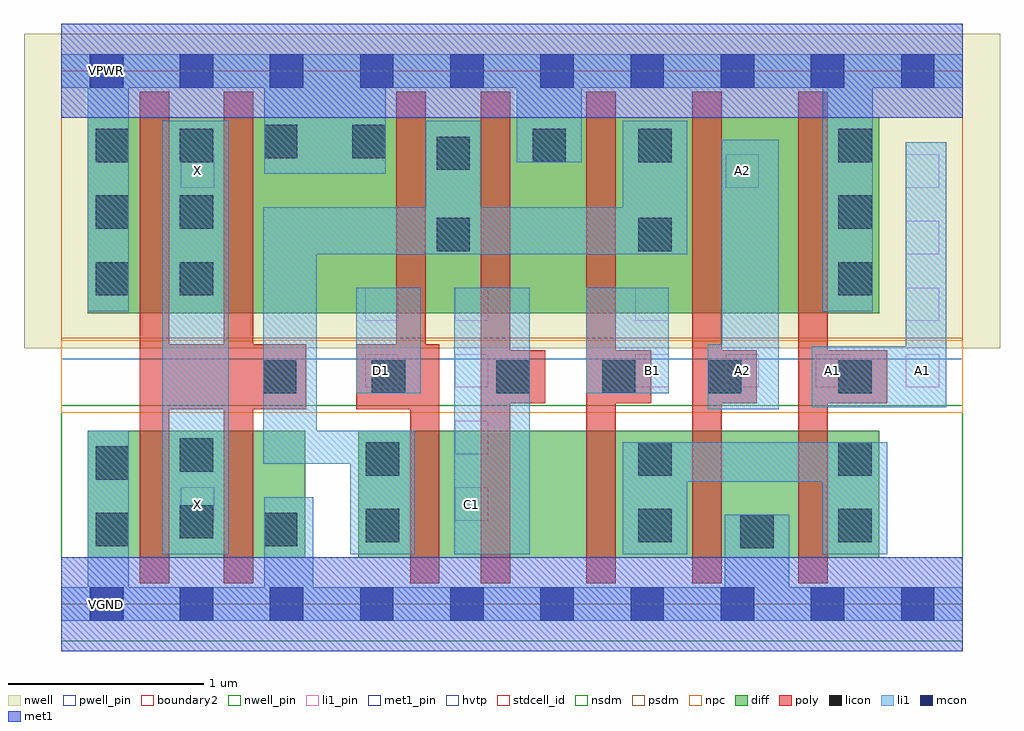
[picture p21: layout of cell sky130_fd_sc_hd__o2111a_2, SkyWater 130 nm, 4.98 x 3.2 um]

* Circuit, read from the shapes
.subckt sky130_fd_sc_hd__o2111a_2 A1 A2 B1 C1 D1 VGND VNB VPB VPWR X
XM1 X n1 VGND VNB sky130_fd_pr__nfet_01v8 w=0.65 l=0.15 m=2
XM2 n2 D1 n1 VNB sky130_fd_pr__nfet_01v8 w=0.65 l=0.15
XM3 n3 C1 n2 VNB sky130_fd_pr__nfet_01v8 w=0.65 l=0.15
XM4 n4 B1 n3 VNB sky130_fd_pr__nfet_01v8 w=0.65 l=0.15
XM5 VGND A2 n4 VNB sky130_fd_pr__nfet_01v8 w=0.65 l=0.15
XM6 n4 A1 VGND VNB sky130_fd_pr__nfet_01v8 w=0.65 l=0.15
XM7 X n1 VPWR VPB sky130_fd_pr__pfet_01v8_hvt w=1 l=0.15 m=2
XM8 n1 D1 VPWR VPB sky130_fd_pr__pfet_01v8_hvt w=1 l=0.15
XM9 VPWR C1 n1 VPB sky130_fd_pr__pfet_01v8_hvt w=1 l=0.15
XM10 n1 B1 VPWR VPB sky130_fd_pr__pfet_01v8_hvt w=1 l=0.15
XM11 n5 A2 n1 VPB sky130_fd_pr__pfet_01v8_hvt w=1 l=0.15
XM12 VPWR A1 n5 VPB sky130_fd_pr__pfet_01v8_hvt w=1 l=0.15
.ends

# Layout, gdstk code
import gdstk
lib = gdstk.Library(unit=1e-6, precision=1e-09)
def R(c, l, rs):  # rectangles x0, y0, x1, y1
    for r in rs: c.add(gdstk.rectangle(r[:2], r[2:], *l))
def A(c, l, x, y, w, h, nx, ny, dx, dy):  # array of equal rectangles
    R(c, l, [(x+i*dx, y+j*dy, x+i*dx+w, y+j*dy+h) for i in range(nx) for j in range(ny)])
def P(c, l, *ps):  # polygons
    for p in ps: c.add(gdstk.Polygon(p, *l))
nwell_pin = (64, 16)
nwell = (64, 20)
diff = (65, 20)
poly = (66, 20)
licon = (66, 44)
li1_pin = (67, 16)
li1 = (67, 20)
mcon = (67, 44)
met1_pin = (68, 16)
met1 = (68, 20)
hvtp = (78, 44)
stdcell_id = (81, 4)
nsdm = (93, 44)
psdm = (94, 20)
npc = (95, 20)
pwell_pin = (122, 16)
boundary2 = (236, 0)

sky130_fd_sc_hd__o2111a_ = lib.new_cell('sky130_fd_sc_hd__o2111a_2')
R(sky130_fd_sc_hd__o2111a_, nwell_pin, [(0.15,2.635,0.32,2.805)])
R(sky130_fd_sc_hd__o2111a_, nwell, [(-0.19,1.305,4.79,2.91)])
R(sky130_fd_sc_hd__o2111a_, diff, [(0.135,0.235,1.245,0.885), (1.515,0.235,4.175,0.885), (0.135,1.485,4.175,2.485)])
P(sky130_fd_sc_hd__o2111a_, poly, [(2.14,0.105),(2.14,2.615),(2.29,2.615),(2.29,1.295),(2.47,1.295),(2.47,1.025),(2.29,1.025),(2.29,0.105)],
  [(2.68,0.105),(2.68,2.615),(2.83,2.615),(2.83,1.295),(3.01,1.295),(3.01,1.025),(2.83,1.025),(2.83,0.105)],
  [(3.22,0.105),(3.22,2.615),(3.37,2.615),(3.37,1.295),(3.55,1.295),(3.55,1.025),(3.37,1.025),(3.37,0.105)],
  [(3.76,0.105),(3.76,2.615),(3.91,2.615),(3.91,1.295),(4.215,1.295),(4.215,1.025),(3.91,1.025),(3.91,0.105)],
  [(1.78,0.105),(1.78,0.995),(1.505,0.995),(1.505,1.325),(1.71,1.325),(1.71,2.615),(1.86,2.615),(1.86,1.325),(1.93,1.325),(1.93,0.105)],
  [(0.4,0.105),(0.4,2.615),(0.55,2.615),(0.55,1.325),(0.83,1.325),(0.83,2.615),(0.98,2.615),(0.98,1.325),(1.25,1.325),(1.25,0.995),(0.98,0.995),(0.98,0.105),(0.83,0.105),(0.83,0.995),(0.55,0.995),(0.55,0.105)])
A(sky130_fd_sc_hd__o2111a_, licon, 2.22, 1.075, 0.17, 0.17, 3, 1, 0.54, 0)
A(sky130_fd_sc_hd__o2111a_, licon, 0.175, 1.575, 0.17, 0.17, 1, 3, 0, 0.34)
A(sky130_fd_sc_hd__o2111a_, licon, 0.605, 1.575, 0.17, 0.17, 1, 3, 0, 0.34)
A(sky130_fd_sc_hd__o2111a_, licon, 3.965, 1.575, 0.17, 0.17, 1, 3, 0, 0.34)
R(sky130_fd_sc_hd__o2111a_, licon, [(3.465,0.285,3.635,0.455), (0.175,0.295,0.345,0.465), (1.035,0.295,1.205,0.465), (1.555,0.315,1.725,0.485), (2.945,0.315,3.115,0.485), (3.965,0.315,4.135,0.485), (0.605,0.335,0.775,0.505), (0.175,0.635,0.345,0.805), (1.555,0.655,1.725,0.825), (2.945,0.655,3.115,0.825), (3.965,0.655,4.135,0.825), (0.605,0.675,0.775,0.845), (1.03,1.075,1.2,1.245), (1.585,1.075,1.755,1.245), (3.965,1.075,4.135,1.245), (1.915,1.8,2.085,1.97), (2.945,1.8,3.115,1.97), (1.915,2.215,2.085,2.385), (2.405,2.255,2.575,2.425), (2.945,2.255,3.115,2.425), (1.035,2.275,1.205,2.445), (1.485,2.275,1.655,2.445)])
A(sky130_fd_sc_hd__o2111a_, li1_pin, 2.01, 0.425, 0.17, 0.17, 1, 4, 0, 0.34)
A(sky130_fd_sc_hd__o2111a_, li1_pin, 2.93, 1.105, 0.17, 0.17, 4, 1, 0.46, 0)
A(sky130_fd_sc_hd__o2111a_, li1_pin, 4.31, 1.445, 0.17, 0.17, 1, 3, 0, 0.34)
R(sky130_fd_sc_hd__o2111a_, li1_pin, [(0.61,0.425,0.78,0.595), (1.55,1.105,1.72,1.275), (1.55,1.445,1.72,1.615), (2.93,1.445,3.1,1.615), (0.61,2.125,0.78,2.295), (3.39,2.125,3.56,2.295)])
R(sky130_fd_sc_hd__o2111a_, li1, [(0.515,0.255,0.855,2.465), (2.005,0.255,2.39,1.615), (1.505,1.075,1.835,1.615), (2.68,1.075,3.1,1.615)])
P(sky130_fd_sc_hd__o2111a_, li1, [(3.83,1.005),(3.83,1.315),(4.31,1.315),(4.31,2.355),(4.515,2.355),(4.515,1.005)],
  [(0.135,1.495),(0.135,2.635),(0,2.635),(0,2.805),(4.6,2.805),(4.6,2.635),(4.14,2.635),(4.14,1.495),(3.885,1.495),(3.885,2.635),(2.655,2.635),(2.655,2.255),(2.325,2.255),(2.325,2.635),(1.655,2.635),(1.655,2.195),(1.035,2.195),(1.035,2.635),(0.345,2.635),(0.345,1.495)],
  [(2.865,0.255),(2.865,0.825),(4.215,0.825),(4.215,0.255),(3.885,0.255),(3.885,0.625),(3.195,0.625),(3.195,0.255)],
  [(1.475,0.255),(1.475,0.715),(1.03,0.715),(1.03,2.025),(1.86,2.025),(1.86,2.465),(2.14,2.465),(2.14,2.025),(2.865,2.025),(2.865,2.465),(3.195,2.465),(3.195,1.785),(1.305,1.785),(1.305,0.885),(1.805,0.885),(1.805,0.255)],
  [(3.3,0.995),(3.3,1.325),(3.37,1.325),(3.37,2.37),(3.66,2.37),(3.66,0.995)],
  [(0,-0.085),(0,0.085),(0.135,0.085),(0.135,0.885),(0.345,0.885),(0.345,0.085),(1.035,0.085),(1.035,0.545),(1.285,0.545),(1.285,0.085),(3.385,0.085),(3.385,0.455),(3.715,0.455),(3.715,0.085),(4.6,0.085),(4.6,-0.085)])
A(sky130_fd_sc_hd__o2111a_, mcon, 0.145, -0.085, 0.17, 0.17, 10, 2, 0.46, 2.72)
R(sky130_fd_sc_hd__o2111a_, met1_pin, [(0.15,-0.085,0.32,0.085), (0.15,2.635,0.32,2.805)])
R(sky130_fd_sc_hd__o2111a_, hvtp, [(0,1.25,4.6,2.72)])
R(sky130_fd_sc_hd__o2111a_, stdcell_id, [(0,0,4.6,2.72)])
R(sky130_fd_sc_hd__o2111a_, nsdm, [(0,-0.19,4.6,1.015)])
R(sky130_fd_sc_hd__o2111a_, psdm, [(0,1.355,4.6,2.91)])
R(sky130_fd_sc_hd__o2111a_, npc, [(0,0.975,4.6,1.345)])
R(sky130_fd_sc_hd__o2111a_, pwell_pin, [(0.15,-0.085,0.32,0.085)])
R(sky130_fd_sc_hd__o2111a_, boundary2, [(0,0,4.6,2.72)])
sky130_fd_sc_hd__o2111a_.add(gdstk.FlexPath([(0,0),(4.6,0)], 0.48, ends="flush", simple_path=True, layer=68, datatype=20))  # met1
sky130_fd_sc_hd__o2111a_.add(gdstk.FlexPath([(0,2.72),(4.6,2.72)], 0.48, ends="flush", simple_path=True, layer=68, datatype=20))  # met1
sky130_fd_sc_hd__o2111a_.add(gdstk.Label('VPWR', (0.23,2.72), layer=68, texttype=5))
sky130_fd_sc_hd__o2111a_.add(gdstk.Label('VGND', (0.23,0), layer=68, texttype=5))
sky130_fd_sc_hd__o2111a_.add(gdstk.Label('VPB', (0.235,2.72), layer=64, texttype=5))
sky130_fd_sc_hd__o2111a_.add(gdstk.Label('VNB', (0.235,0), layer=64, texttype=59))
sky130_fd_sc_hd__o2111a_.add(gdstk.Label('o2111a_2', (0,0), layer=83, texttype=44))
sky130_fd_sc_hd__o2111a_.add(gdstk.Label('X', (0.695,0.51), layer=67, texttype=5))
sky130_fd_sc_hd__o2111a_.add(gdstk.Label('X', (0.695,2.21), layer=67, texttype=5))
sky130_fd_sc_hd__o2111a_.add(gdstk.Label('B1', (3.015,1.19), layer=67, texttype=5))
sky130_fd_sc_hd__o2111a_.add(gdstk.Label('A2', (3.475,1.19), layer=67, texttype=5))
sky130_fd_sc_hd__o2111a_.add(gdstk.Label('A2', (3.475,2.21), layer=67, texttype=5))
sky130_fd_sc_hd__o2111a_.add(gdstk.Label('A1', (3.935,1.19), layer=67, texttype=5))
sky130_fd_sc_hd__o2111a_.add(gdstk.Label('A1', (4.395,1.19), layer=67, texttype=5))
sky130_fd_sc_hd__o2111a_.add(gdstk.Label('C1', (2.095,0.51), layer=67, texttype=5))
sky130_fd_sc_hd__o2111a_.add(gdstk.Label('D1', (1.635,1.19), layer=67, texttype=5))

lib.write_gds('sky130_fd_sc_hd__o2111a_2.gds')
